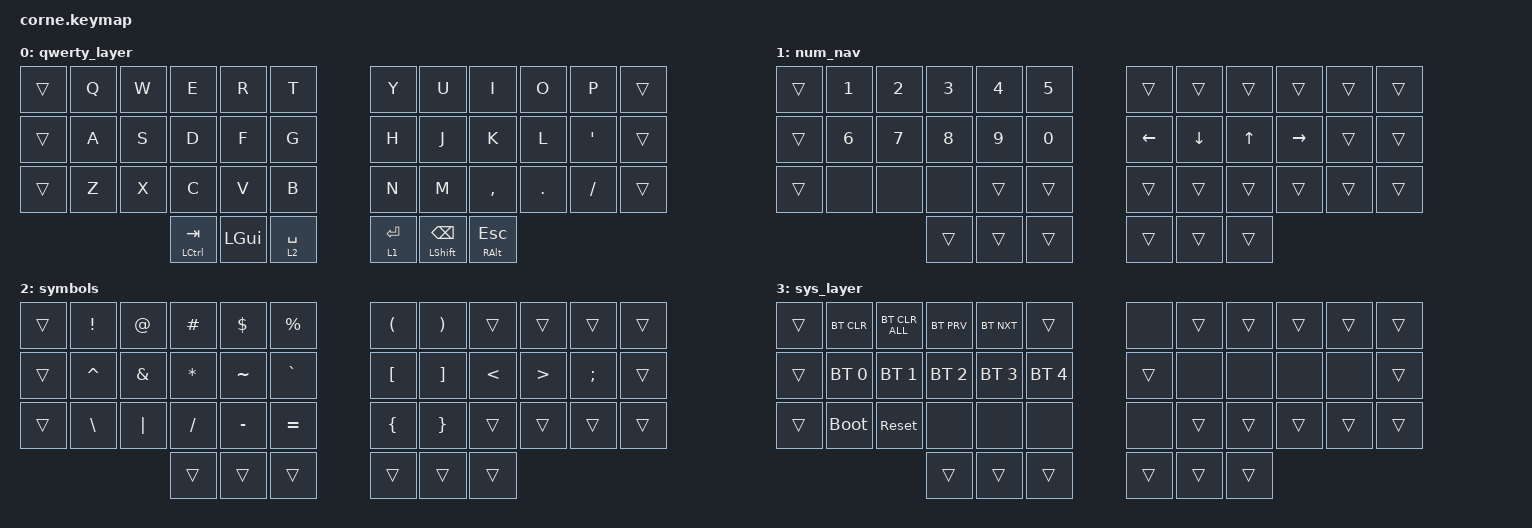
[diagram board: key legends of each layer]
/*
 * Copyright (c) 2020 The ZMK Contributors
 *
 * SPDX-License-Identifier: MIT
 */

#include <behaviors.dtsi>
#include <dt-bindings/zmk/bt.h>
#include <dt-bindings/zmk/keys.h>

&mt {
    tapping-term-ms = <400>;
    quick-tap-ms = <350>;
    require-prior-idle-ms = <150>;
    flavor = "balanced";
};

&lt { tapping-term-ms = <400>; };

/ {
    combos {
        compatible = "zmk,combos";

        combo_esc {
            timeout-ms = <50>;
            key-positions = <1 2 3>;
            bindings = <&kp ESCAPE>;
        };

        combo_bksp {
            timeout-ms = <50>;
            key-positions = <10 9 8>;
            bindings = <&kp BACKSPACE>;
        };

        combo_tab {
            bindings = <&kp TAB>;
            key-positions = <13 14 15>;
        };

        combo_shift {
            bindings = <&kp LEFT_SHIFT>;
            key-positions = <25 26 27>;
        };

        combo_delete {
            bindings = <&kp DELETE>;
            key-positions = <21 22 20>;
        };

        combo_rshift {
            bindings = <&kp RIGHT_SHIFT>;
            key-positions = <33 34 32>;
        };

        exclm {
            bindings = <&kp EXCLAMATION>;
            key-positions = <1 13>;
        };

        at {
            bindings = <&kp AT_SIGN>;
            key-positions = <2 14>;
        };

        hash {
            bindings = <&kp HASH>;
            key-positions = <3 15>;
        };

        dllr {
            bindings = <&kp DOLLAR>;
            key-positions = <4 16>;
        };

        percnt {
            bindings = <&kp PERCENT>;
            key-positions = <5 17>;
        };

        caret {
            bindings = <&kp CARET>;
            key-positions = <6 18>;
        };

        and {
            bindings = <&kp AMPERSAND>;
            key-positions = <7 19>;
        };

        str {
            bindings = <&kp ASTERISK>;
            key-positions = <8 20>;
        };

        leftparen {
            bindings = <&kp LPAR>;
            key-positions = <9 21>;
        };

        rparen {
            bindings = <&kp RPAR>;
            key-positions = <10 22>;
        };

        system_reset {
            bindings = <&sys_reset>;
            key-positions = <3 4 5 14>;
        };

        bootloader {
            bindings = <&bootloader>;
            key-positions = <15 16 17 26>;
        };

        system_layer_combo {
            bindings = <&mo 3>;
            key-positions = <36 37 38>;
        };
    };

    conditional_layers { compatible = "zmk,conditional-layers"; };

    keymap {
        compatible = "zmk,keymap";

        qwerty_layer {
            bindings = <
&trans  &kp Q  &kp W  &kp E          &kp R         &kp T          &kp Y        &kp U                     &kp I              &kp O    &kp P             &trans
&trans  &kp A  &kp S  &kp D          &kp F         &kp G          &kp H        &kp J                     &kp K              &kp L    &kp SINGLE_QUOTE  &trans
&trans  &kp Z  &kp X  &kp C          &kp V         &kp B          &kp N        &kp M                     &kp COMMA          &kp DOT  &kp FSLH          &trans
                      &mt LCTRL TAB  &kp LEFT_GUI  &lt 2 SPACE    &lt 1 ENTER  &mt LEFT_SHIFT BACKSPACE  &mt RIGHT_ALT ESC
            >;
        };

        num_nav {
            bindings = <
&trans  &kp N1        &kp N2  &kp N3  &kp N4  &kp N5          &trans    &trans    &trans  &trans     &trans  &trans
&trans  &kp NUMBER_6  &kp N7  &kp N8  &kp N9  &kp NUMBER_0    &kp LEFT  &kp DOWN  &kp UP  &kp RIGHT  &trans  &trans
&trans  &none         &none   &none   &trans  &trans          &trans    &trans    &trans  &trans     &trans  &trans
                              &trans  &trans  &trans          &trans    &trans    &trans
            >;
        };

        symbols {
            bindings = <
&trans  &kp EXCLAMATION  &kp AT_SIGN    &kp POUND     &kp DOLLAR  &kp PERCENT    &kp LEFT_PARENTHESIS  &kp RIGHT_PARENTHESIS  &trans         &trans            &trans    &trans
&trans  &kp CARET        &kp AMPERSAND  &kp ASTERISK  &kp TILDE   &kp GRAVE      &kp LEFT_BRACKET      &kp RIGHT_BRACKET      &kp LESS_THAN  &kp GREATER_THAN  &kp SEMI  &trans
&trans  &kp BACKSLASH    &kp PIPE       &kp SLASH     &kp MINUS   &kp EQUAL      &kp LEFT_BRACE        &kp RIGHT_BRACE        &trans         &trans            &trans    &trans
                                        &trans        &trans      &trans         &trans                &trans                 &trans
            >;
        };

        sys_layer {
            bindings = <
&trans  &bt BT_CLR    &bt BT_CLR_ALL  &bt BT_PRV    &bt BT_NXT    &trans          &none   &trans  &trans  &trans  &trans  &trans
&trans  &bt BT_SEL 0  &bt BT_SEL 1    &bt BT_SEL 2  &bt BT_SEL 3  &bt BT_SEL 4    &trans  &none   &none   &none   &none   &trans
&trans  &bootloader   &sys_reset      &none         &none         &none           &none   &trans  &trans  &trans  &trans  &trans
                                      &trans        &trans        &trans          &trans  &trans  &trans
            >;
        };
    };
};
